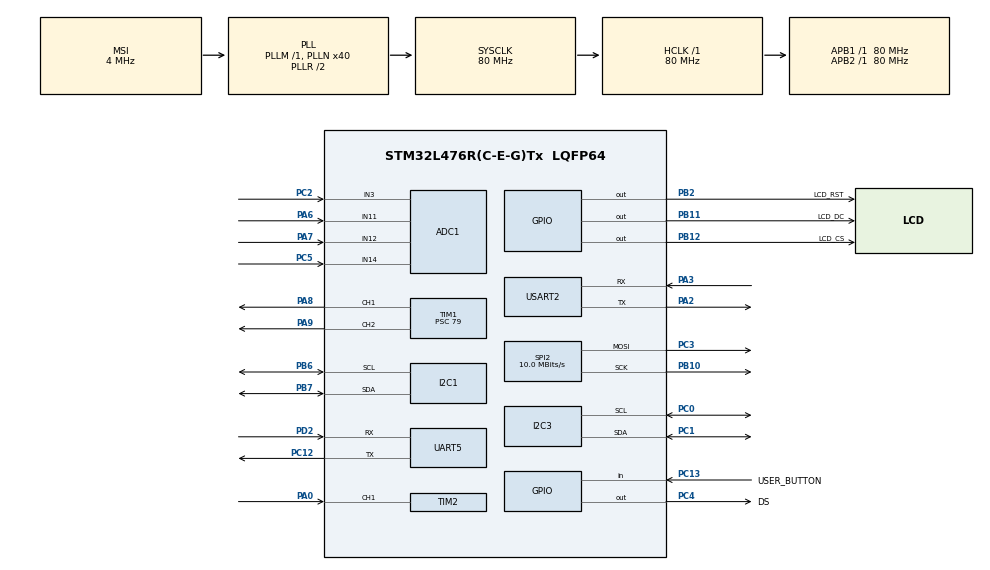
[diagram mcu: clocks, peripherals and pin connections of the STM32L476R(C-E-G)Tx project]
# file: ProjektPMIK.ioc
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ADC1.Channel-0\#ChannelRegularConversion=ADC_CHANNEL_11
ADC1.Channel-1\#ChannelRegularConversion=ADC_CHANNEL_12
ADC1.Channel-2\#ChannelRegularConversion=ADC_CHANNEL_3
ADC1.Channel-3\#ChannelRegularConversion=ADC_CHANNEL_14
ADC1.NbrOfConversion=4
ADC1.NbrOfConversionFlag=1
ADC1.OffsetNumber-0\#ChannelRegularConversion=ADC_OFFSET_NONE
ADC1.OffsetNumber-1\#ChannelRegularConversion=ADC_OFFSET_NONE
ADC1.OffsetNumber-2\#ChannelRegularConversion=ADC_OFFSET_NONE
ADC1.OffsetNumber-3\#ChannelRegularConversion=ADC_OFFSET_NONE
ADC1.Rank-0\#ChannelRegularConversion=1
ADC1.Rank-1\#ChannelRegularConversion=2
ADC1.Rank-2\#ChannelRegularConversion=3
ADC1.Rank-3\#ChannelRegularConversion=4
ADC1.SamplingTime-0\#ChannelRegularConversion=ADC_SAMPLETIME_640CYCLES_5
ADC1.SamplingTime-1\#ChannelRegularConversion=ADC_SAMPLETIME_640CYCLES_5
ADC1.SamplingTime-2\#ChannelRegularConversion=ADC_SAMPLETIME_640CYCLES_5
ADC1.SamplingTime-3\#ChannelRegularConversion=ADC_SAMPLETIME_640CYCLES_5
ADC1.master=1
I2C1.Timing=0x10909CEC
I2C3.Timing=0x10909CEC
Mcu.Family=STM32L4
Mcu.Name=STM32L476R(C-E-G)Tx
Mcu.Package=LQFP64
NVIC.ADC1_2_IRQn=true\:0\:0\:false\:false\:true\:true\:true\:true
NVIC.PriorityGroup=NVIC_PRIORITYGROUP_4
NVIC.TIM2_IRQn=true\:0\:0\:false\:false\:true\:true\:true\:true
NVIC.UART5_IRQn=true\:0\:0\:false\:false\:true\:true\:true\:true
PA0.Signal=S_TIM2_CH1
PA13\ (JTMS-SWDIO).Mode=Serial_Wire
PA13\ (JTMS-SWDIO).Signal=SYS_JTMS-SWDIO
PA14\ (JTCK-SWCLK).Mode=Serial_Wire
PA14\ (JTCK-SWCLK).Signal=SYS_JTCK-SWCLK
PA2.Mode=Asynchronous
PA2.Signal=USART2_TX
PA3.Mode=Asynchronous
PA3.Signal=USART2_RX
PA6.Signal=ADCx_IN11
PA7.Signal=ADCx_IN12
PA8.Signal=S_TIM1_CH1
PA9.Signal=S_TIM1_CH2
PB10.Mode=TX_Only_Simplex_Unidirect_Master
PB10.Signal=SPI2_SCK
PB11.GPIO_Label=LCD_DC
PB11.Signal=GPIO_Output
PB12.GPIO_Label=LCD_CS
PB12.PinState=GPIO_PIN_SET
PB12.Signal=GPIO_Output
PB2.GPIO_Label=LCD_RST
PB2.Signal=GPIO_Output
PB6.Mode=I2C
PB6.Signal=I2C1_SCL
PB7.Mode=I2C
PB7.Signal=I2C1_SDA
PC0.Mode=I2C
PC0.Signal=I2C3_SCL
PC1.Mode=I2C
PC1.Signal=I2C3_SDA
PC12.Mode=Asynchronous
PC12.Signal=UART5_TX
PC13.GPIO_Label=USER_BUTTON
PC13.Signal=GPIO_Input
PC14-OSC32_IN\ (PC14).Mode=LSE-External-Oscillator
PC14-OSC32_IN\ (PC14).Signal=RCC_OSC32_IN
PC15-OSC32_OUT\ (PC15).Mode=LSE-External-Oscillator
PC15-OSC32_OUT\ (PC15).Signal=RCC_OSC32_OUT
PC2.Signal=ADCx_IN3
PC3.Mode=TX_Only_Simplex_Unidirect_Master
PC3.Signal=SPI2_MOSI
PC4.GPIO_Label=DS
PC4.GPIO_ModeDefaultOutputPP=GPIO_MODE_OUTPUT_OD
PC4.GPIO_PuPd=GPIO_NOPULL
PC4.PinState=GPIO_PIN_SET
PC4.Signal=GPIO_Output
PC5.Signal=ADCx_IN14
PD2.Mode=Asynchronous
PD2.Signal=UART5_RX
ProjectManager.HeapSize=0x200
ProjectManager.StackSize=0x400
ProjectManager.TargetToolchain=STM32CubeIDE
RCC.ADCFreq_Value=32000000
RCC.AHBFreq_Value=80000000
RCC.APB1Freq_Value=80000000
RCC.APB1TimFreq_Value=80000000
RCC.APB2Freq_Value=80000000
RCC.APB2TimFreq_Value=80000000
RCC.CortexFreq_Value=80000000
RCC.HCLKFreq_Value=80000000
RCC.HSE_VALUE=8000000
RCC.HSI_VALUE=16000000
RCC.MSI_VALUE=4000000
RCC.PLLN=40
RCC.PLLSAI1N=16
RCC.RTCClockSelection=RCC_RTCCLKSOURCE_LSE
RCC.SYSCLKFreq_VALUE=80000000
RCC.SYSCLKSource=RCC_SYSCLKSOURCE_PLLCLK
RCC.USBFreq_Value=32000000
RCC.VCOOutputFreq_Value=160000000
SH.ADCx_IN11.0=ADC1_IN11,IN11-Single-Ended
SH.ADCx_IN12.0=ADC1_IN12,IN12-Single-Ended
SH.ADCx_IN14.0=ADC1_IN14,IN14-Single-Ended
SH.ADCx_IN3.0=ADC1_IN3,IN3-Single-Ended
SH.S_TIM1_CH1.0=TIM1_CH1,PWM Generation1 CH1
SH.S_TIM1_CH2.0=TIM1_CH2,PWM Generation2 CH2
SH.S_TIM2_CH1.0=TIM2_CH1,Input_Capture1_from_TI1
SH.S_TIM2_CH1.1=TIM2_CH1,TriggerSource_TI1ED
SPI2.BaudRatePrescaler=SPI_BAUDRATEPRESCALER_8
SPI2.CalculateBaudRate=10.0 MBits/s
SPI2.DataSize=SPI_DATASIZE_8BIT
SPI2.Direction=SPI_DIRECTION_2LINES
SPI2.Mode=SPI_MODE_MASTER
SPI2.NSSPMode=SPI_NSS_PULSE_DISABLE
SPI2.VirtualType=VM_MASTER
TIM1.Channel-PWM\ Generation1\ CH1=TIM_CHANNEL_1
TIM1.Channel-PWM\ Generation2\ CH2=TIM_CHANNEL_2
TIM1.Period=20000
TIM1.Prescaler=79
TIM2.Channel-Input_Capture1_from_TI1=TIM_CHANNEL_1
TIM2.ICPolarity_CH1=TIM_INPUTCHANNELPOLARITY_FALLING
TIM2.Prescaler=79
TIM6.Prescaler=79
USART2.OverrunDisableParam=ADVFEATURE_OVERRUN_DISABLE
USART2.VirtualMode-Asynchronous=VM_ASYNC
VP_RTC_VS_RTC_Activate.Mode=RTC_Enabled
VP_TIM1_VS_ClockSourceINT.Mode=Internal
VP_TIM2_VS_ClockSourceINT.Mode=Internal
VP_TIM2_VS_ControllerModeReset.Mode=Reset Mode
VP_TIM6_VS_ClockSourceINT.Mode=Enable_Timer
board=custom

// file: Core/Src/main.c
/* USER CODE BEGIN Header */
/**
  ******************************************************************************
  * @file           : main.c
  * @brief          : Main program body
  ******************************************************************************
  * @attention
  *
  *
  *	PROJEKT:   Stacja pogodowa o funkcjonalności:
  *		Wyświetlająca date i godzine
  *		Wyświetlająca bieżące parametry otoczenia
  *		Wyświetlająca dane pogodowe z internetu
  *		Wyświetlająca historię parametrów otoczenia z kilku ostatnich dni
  *		Ustawiająca panel fotowoltaiczny pod kątem największego natężenia światła
  *		Komunikacja z portem szeregowym komputera
  *		Sterowanie tym co jest wyświetlane za pomocą pilota IR
  *
  *
  * Copyright (c) 2022 STMicroelectronics.
  * All rights reserved.
  *
  * This software is licensed under terms that can be found in the LICENSE file
  * in the root directory of this software component.
  * If no LICENSE file comes with this software, it is provided AS-IS.
  *
  ******************************************************************************
  */
/* USER CODE END Header */
#include "main.h"
#include "adc.h"
#include "i2c.h"
#include "rtc.h"
#include "spi.h"
#include "tim.h"
#include "usart.h"
#include "gpio.h"

/* USER CODE BEGIN Includes */
#include <string.h>
#include <stdio.h>

#include <stdbool.h>
#include "ds18b20.h"
#include "lps25hb.h"
#include "ir.h"
#include "hagl.h"
#include "font6x9.h"
#include "rgb565.h"
#include <hagl_hal.h>
#include <hagl.h>
#include "channels.h"

#include "FUNCTIONS.h"
/* USER CODE END Includes */

/* USER CODE BEGIN PD */
#define NUMBER_OF_MONTHS 12
#define MAX_MONTH_NAME_SIZE 20

// definicja do i2c do czujnika cisnienia
#define LPS25HB_ADDR			0xBA

#define LPS25HB_WHO_AM_I 		0x0F
#define LPS25HB_CTRL_REG1 		0x20
#define LPS25HB_CTRL_REG2 		0x21
#define LPS25HB_CTRL_REG3 		0x22
#define LPS25HB_CTRL_REG4 		0x23
#define LPS25HB_PRESS_OUT_XL 	0x28
#define LPS25HB_PRESS_OUT_L 	0x29
#define LPS25HB_PRESS_OUT_H 	0x2A
#define LPS25HB_TEMP_OUT_L 		0x2B
#define LPS25HB_TEMP_OUT_H 		0x2C

#define LPS25HB_CTRL_REG1_PD 	0x80
#define LPS25HB_CTRL_REG1_ODR2 	0x40
#define LPS25HB_CTRL_REG1_ODR1 	0x20
#define LPS25HB_CTRL_REG1_ODR0 	0x10
//koniec definicja do i2c do czujnika cisnienia
/* USER CODE END PD */

/* USER CODE BEGIN PV */

/**
**Flaga: gdy 1 to pobierane sa dane z internetuprzez ESP   */
int pobierz_dane=0;
/**
** Flaga: gdy 1 to panel fotowoltaiczny jest ustawiany  */
int ustaw_panel=0;
/**
** Numer aktualnie wyświetlanego na ekranie TFT kanału  */
int licznik_kanalu=0;
/**
**  Flaga pozwalająca, aby dane były wyświetlane tylko raz na ekranie jeśli kanał jest nie zmieniany*/
int czy_wyswietlono=0;

int nowy_dzien=0;
int licznik_write_to_memory=1;
/**
**Struktura danych pozwalająca na łatwiejsze określenie czasu trwania sygnału impulsu z odbiornika IR   */
typedef enum {
	PULSE_9MS,
	PULSE_4MS,
	PULSE_2MS,
	PULSE_LONG,
	PULSE_SHORT,
	PULSE_ERROR,
}pulse_t;

uint8_t last_day;

/**
** Wszystkie zmienne RTC są związane z zegarem czasu rzeczywistego  */
RTC_DateTypeDef start_date; //date with which program starts
RTC_TimeTypeDef time;       //changed date
RTC_DateTypeDef date;       //changed time

/**
** Wszystkie zmienne uint są wykorzystywane jako licznik SysTick do różnych funkcji  */
uint time_compare;
uint start_Time;
uint start_Time2;
uint start_Time3;
uint start_Time4;
uint start_Time5;
uint start_Time6;
uint start_Time7;
uint start_Time11;
uint start_Time9;

uint start_Time12;

/**
**  Zmienne do obliczania temperatury  */
uint8_t temperature_calculated=0;
uint16_t temperature=0;
int next_day_flag=0;

int onlywrite=0;
int licznikdnia=0;
int czy_kolejny_dzien=0;
char months_names[NUMBER_OF_MONTHS][MAX_MONTH_NAME_SIZE] = //miesiace kalendarza
{ "styczen",
  "luty",
  "marzec",
  "kwiecien",
  "maj",
  "czerwiec",
  "lipiec",
  "sierpien",
  "wrzesien",
  "pazdziernik",
  "listopad",
  "grudzien",
};

int months_lenghts[NUMBER_OF_MONTHS] =     //dlugosc startowa poszczegolnych miesiecy
{ 31,
  28,
  31,
  30,
  31,
  30,
  31,
  31,
  30,
  31,
  30,
  31,
};

/**
** Zmienne result_memory odpowidają za wpisywanie danych do EEPROM  */
uint8_t result_memory = 0;
uint8_t result_memory2 = 0;
uint8_t result_memory3 = 0;
uint8_t result_memory4 = 0;

/**
** Struktura, która pozwala na tworzenie struktur miast, i przyporządkowywanie miastom danych pogodowych z internetu  */
struct Pogoda_w_miescie_ESP
{char temp[10];
char cisn[10];
char wiatr[10];
	};

/* USER CODE END PV */

void SystemClock_Config(void);
/* USER CODE BEGIN PFP */
/**
** To co robią poszczególne funkcje, opisywane jest przed blokami danych funkcji(np na końcu pliku main.c)  */
void initialize_main_calendar();
void set_new_date_and_time(RTC_DateTypeDef new_date,RTC_TimeTypeDef new_time, uint8_t newYear,uint8_t newMonth,uint8_t newDate,uint8_t newHours,uint8_t newMinutes,uint8_t newSeconds);
void next_day();
void is_pressure_sensor_connected();
void call_calendar();
void call_one_wire_temperature();
void print_lps25hb_sensor();
HAL_StatusTypeDef wire_reset();
uint8_t wire_read();
void write_to_memory();
void wire_write(uint8_t byte);
uint8_t byte_crc(uint8_t crc, uint8_t byte);
uint8_t wire_crc(const uint8_t* data, int len);

uint8_t lps_read_reg(uint8_t reg);
void lps_write_reg(uint8_t reg, uint8_t value);
void read_to_memory();
void line_append(uint8_t value);

void read_time_and_data();
void ESP_loop();

void ds18b20_temperature_sensor();
void print_what_you_write_and_entered();

void serial_port_information();

void start_GetTicks();

void serial_port_data();

void  lcd_put_in_while();

void ADC_measure();
/* USER CODE END PFP */

/* USER CODE BEGIN 0 */
struct Pogoda_w_miescie_ESP Warszawa_pogoda;
struct Pogoda_w_miescie_ESP Gdansk_pogoda;
struct Pogoda_w_miescie_ESP Krakow_pogoda;

/**
  * @brief
  * Callback związany z odczytywaniem naciśniętego przycisku na pilocie IR oraz rozpoznawaniem go
  * @retval None
  */
void HAL_TIM_IC_CaptureCallback(TIM_HandleTypeDef *htim)
{
  if (htim == &htim2)
  {
    switch (HAL_TIM_GetActiveChannel(&htim2))
    {
      case HAL_TIM_ACTIVE_CHANNEL_1:
        ir_tim_interrupt();
        break;
      default:
        break;
    }
  }
}

/**
  * @brief
  * Po naciśnięciu przycisku użytkownika, następuje reset czasu
  * @retval None
  */
bool is_button_pressed(void)
{
  if (HAL_GPIO_ReadPin(USER_BUTTON_GPIO_Port, USER_BUTTON_Pin) == GPIO_PIN_RESET) {
    return true;
  } else {
    return false;
  }
}

/* USER CODE END 0 */

int main(void)
{

  /* MCU Configuration--------------------------------------------------------*/

  /* Reset of all peripherals, Initializes the Flash interface and the Systick. */
  HAL_Init();

  /* Configure the system clock */
  SystemClock_Config();

  /* Initialize all configured peripherals */
  MX_GPIO_Init();
  MX_USART2_UART_Init();
  MX_RTC_Init();
  MX_TIM6_Init();
  MX_I2C1_Init();
  MX_I2C3_Init();
  MX_TIM2_Init();
  MX_SPI2_Init();
  MX_UART5_Init();
  MX_TIM1_Init();
  MX_ADC1_Init();
  /* USER CODE BEGIN 2 */

  	call_one_wire_temperature(); //sprawdzenie czy termometr podpiety

	initialize_main_calendar(start_date);  //data startowa po wlaczeniu programu
	call_calendar(); //wypisywanie miesiecy
	start_GetTicks(); //GetTicks
	  HAL_ADCEx_Calibration_Start(&hadc1, ADC_SINGLE_ENDED); //włączanie PWM do obracania panelem fotowoltaicznym oraz jego kanałów
	  HAL_TIM_PWM_Start(&htim1, TIM_CHANNEL_1);
	  HAL_TIM_PWM_Start(&htim1, TIM_CHANNEL_2);
	  htim1.Instance->CCR1=1300;
	  htim1.Instance->CCR2=1200;

  /* USER CODE END 2 */

  /* Infinite loop */
  /* USER CODE BEGIN WHILE */

	  is_pressure_sensor_connected();// czy czujnik cisnienia jest dolaczony
	  serial_port_information(); //informacja co wpisac do konsoli
	  lcd_init();//inicjalizacja wyświetlacza
	  ir_init(); //wystartowanie Input Capture timera

	  for(int i=0;i<=127;i++)//resetowanie pamięci EEPROM po każdorazowym restarcie
	  {
		  	  HAL_I2C_Mem_Write(&hi2c3, 0xA0, i, 1, 0, sizeof(0), 1000);
	  			    			  HAL_Delay(5);
	  }

	  last_day=date.Date;

  while (1)
  {
	  channel_of_display(); //sprawdzanie ktory kanal wyswietlacza
	  serial_port_data();   //pomiary na porcie szeregowym
	  print_what_you_write_and_entered(); //wypisanie na port szeregowy tego co wpisalismy
	  lcd_put_in_while(); //wyswietlanie poszczegolnych kanalow
	  write_to_memory(); //zapis do pamięci EEPROM danyh pogodowych
	  ESP_loop();  //pobieranie danych z internetu
	  ADC_measure(); //pomiar ADC dla obracania panelem fotowoltaicznym

    /* USER CODE END WHILE */

  }
}

void SystemClock_Config(void)
{
  RCC_OscInitTypeDef RCC_OscInitStruct = {0};
  RCC_ClkInitTypeDef RCC_ClkInitStruct = {0};

  /** Configure the main internal regulator output voltage
  */
  if (HAL_PWREx_ControlVoltageScaling(PWR_REGULATOR_VOLTAGE_SCALE1) != HAL_OK)
  {
    Error_Handler();
  }

  /** Configure LSE Drive Capability
  */
  HAL_PWR_EnableBkUpAccess();
  __HAL_RCC_LSEDRIVE_CONFIG(RCC_LSEDRIVE_LOW);

  /** Initializes the RCC Oscillators according to the specified parameters
  * in the RCC_OscInitTypeDef structure.
  */
  RCC_OscInitStruct.OscillatorType = RCC_OSCILLATORTYPE_LSE|RCC_OSCILLATORTYPE_MSI;
  RCC_OscInitStruct.LSEState = RCC_LSE_ON;
  RCC_OscInitStruct.MSIState = RCC_MSI_ON;
  RCC_OscInitStruct.MSICalibrationValue = 0;
  RCC_OscInitStruct.MSIClockRange = RCC_MSIRANGE_6;
  RCC_OscInitStruct.PLL.PLLState = RCC_PLL_ON;
  RCC_OscInitStruct.PLL.PLLSource = RCC_PLLSOURCE_MSI;
  RCC_OscInitStruct.PLL.PLLM = 1;
  RCC_OscInitStruct.PLL.PLLN = 40;
  RCC_OscInitStruct.PLL.PLLP = RCC_PLLP_DIV7;
  RCC_OscInitStruct.PLL.PLLQ = RCC_PLLQ_DIV2;
  RCC_OscInitStruct.PLL.PLLR = RCC_PLLR_DIV2;
  if (HAL_RCC_OscConfig(&RCC_OscInitStruct) != HAL_OK)
  {
    Error_Handler();
  }

  /** Initializes the CPU, AHB and APB buses clocks
  */
  RCC_ClkInitStruct.ClockType = RCC_CLOCKTYPE_HCLK|RCC_CLOCKTYPE_SYSCLK
                              |RCC_CLOCKTYPE_PCLK1|RCC_CLOCKTYPE_PCLK2;
  RCC_ClkInitStruct.SYSCLKSource = RCC_SYSCLKSOURCE_PLLCLK;
  RCC_ClkInitStruct.AHBCLKDivider = RCC_SYSCLK_DIV1;
  RCC_ClkInitStruct.APB1CLKDivider = RCC_HCLK_DIV1;
  RCC_ClkInitStruct.APB2CLKDivider = RCC_HCLK_DIV1;

  if (HAL_RCC_ClockConfig(&RCC_ClkInitStruct, FLASH_LATENCY_4) != HAL_OK)
  {
    Error_Handler();
  }

  /** Enable MSI Auto calibration
  */
  HAL_RCCEx_EnableMSIPLLMode();
}

/* USER CODE BEGIN 4 */
/**
  * @brief
  * Wyświetlanie parametrów pogodowych na porcie szeregowym
  * @retval None
  */
void print_lps25hb_sensor()
{

	if(HAL_GetTick()-start_Time4>=5000)
			    	{printf("T = %.1f*C\n", lps25hb_read_temp());
	    printf("p = %.1f hPa\n", lps25hb_read_pressure());

			    		start_Time4=HAL_GetTick();
			    	}

}

/**
  * @brief
  * Sprawdzenie czy czujnik ciśnienia jest podłączony
  * @retval None
  */

void is_pressure_sensor_connected()
{
	printf("Searching...\n");
	if (lps25hb_init() == HAL_OK) {
	  printf("OK: LPS25HB\n");
	} else {
	  printf("Error: LPS25HB not found\n");
	  Error_Handler();
	}
	  if(HAL_GetTick()-start_Time3>=100)
		    	{

		    		start_Time3=HAL_GetTick();
		    	}
	}
/**
  * @brief
  * Wypisywanie nazw miesięcy na porcie szeregowym
  * @retval None
  */
void call_calendar()
{
	for(int i=0;i<=12;i++)
	  {printf("%c",months_names[2][i]);}
	printf("\n");

}
/**
  * @brief
  * Sprawdzenie czy czujnik temperatury jest podłączony
  * @retval None
  */
void  call_one_wire_temperature()
{
	 if (ds18b20_init() != HAL_OK) {
	    Error_Handler();
	  }

	  uint8_t ds1[DS18B20_ROM_CODE_SIZE];

	  if (ds18b20_read_address(ds1) != HAL_OK) {
	    Error_Handler();
	  }
}
/**
  * @brief
  * Inicjalizacja zegara RTC jakimiś danymi przy starcie systemu
  * @retval None
  */
void initialize_main_calendar(RTC_DateTypeDef start_date)
{
	start_date.Year = 25;
	start_date.Month = 06;
	start_date.Date = 1;
	start_date.WeekDay = RTC_WEEKDAY_TUESDAY;
	  HAL_RTC_SetDate(&hrtc, &start_date, RTC_FORMAT_BIN);

	}
/**
  * @brief
  * Ustawianie nowego czasu i daty na RTC
  * @retval None
  */
void set_new_date_and_time(RTC_DateTypeDef new_date,RTC_TimeTypeDef new_time, uint8_t newYear,uint8_t newMonth,uint8_t newDate,uint8_t newHours,uint8_t newMinutes,uint8_t newSeconds)
{

  			new_date.Year=newYear;
		  	new_date.Month=newMonth;
		  	new_date.Date=newDate;
		  	new_time.Hours = newHours;
		  	new_time.Minutes = newMinutes;
		  	new_time.Seconds = newSeconds;
		  	HAL_RTC_SetTime(&hrtc, &new_time, RTC_FORMAT_BIN);
		  	HAL_RTC_SetDate(&hrtc, &new_date, RTC_FORMAT_BIN);

}
/**
  * @brief
  * Odczyt daty i czasu z RTC
  * @retval None
  */
void read_time_and_data(uint time_compare)
{

			  // jeśli naciśnięto przycisk
			  if (is_button_pressed()) {
			  	// ważne: nieużywane pola muszą być wyzerowane
			  	RTC_TimeTypeDef new_time = {0};
			  	RTC_DateTypeDef new_date={0};

			  	// czekamy na zwolnienie przycisku
			  	while (is_button_pressed()) {}

			  	 set_new_date_and_time(new_date,new_time,20,4,15,20,30,22);

			  	// ustawiamy godzinę 07:45:00

			  }

			  HAL_RTC_GetTime(&hrtc, &time, RTC_FORMAT_BIN); //pobieramy date i czas
			  HAL_RTC_GetDate(&hrtc, &date, RTC_FORMAT_BIN);

	if(time.Hours==0 && time.Seconds==0 && time.Minutes==0)  //nastepny dzien
			{
		if((HAL_GetTick()-time_compare)>1000)
		{RTC_TimeTypeDef new_time = {0};
	  	RTC_DateTypeDef new_date={0};

			next_day(new_date,new_time);
		time_compare=HAL_GetTick();
		}

			}

	if(HAL_GetTick()-start_Time>=2000)
	{

		printf("RTC: %04d-%02d-%02d, %02d:%02d:%02d\n", 2000 + date.Year, date.Month, date.Date, time.Hours, time.Minutes, time.Seconds);
		start_Time=HAL_GetTick();
	}

}

/**
  * @brief
  * Sprawdzenie czy następny dziń nastał
  * @retval None
  */
void next_day(RTC_DateTypeDef new_date,RTC_TimeTypeDef new_time)
{

	printf("nastepny dzien \n");

	if(months_lenghts[new_date.Month-1]==31)
	{
		if(new_date.Date<31)
		{
			new_date.Date++;
		}
		else
		{
			if(new_date.Month==12)
			{
				new_date.Month=1;
				new_date.Date=1;
				new_date.Year++;

			}
			else
			{
				new_date.Month++;
				new_date.Date=1;
			}
		}

	}
	else
	{
		if(months_lenghts[new_date.Month-1]==30)
		{
			if(new_date.Date<31)
					{
						new_date.Date++;
					}
			else
			{
				new_date.Month++;
			    new_date.Date=1;

			}

		}
		else
		{
			if(new_date.Month==2)
			{
				if(new_date.Date<28)
				{
					new_date.Date++;

				}
				else
				{
					if(new_date.Date==28)
					{

						if((new_date.Year/400)==0)
							{
								months_lenghts[1]=29;

							}
						else
						{

							if((new_date.Year/100)==0)
							{
								months_lenghts[1]=29;

							}
							else
							{
								if((new_date.Year/4)==0)
								{
									months_lenghts[1]=29;
								}

								else
								{
									months_lenghts[1]=28;
								}

							}

						}

					}

					else
					{

						if(new_date.Date==29)
						{
							new_date.Month++;
							new_date.Date=1;
						}
					}

				}
			}
		}

	}

	 HAL_RTC_GetTime(&hrtc, &new_time, RTC_FORMAT_BIN); //pobieramy date i czas
	 HAL_RTC_GetDate(&hrtc, &new_date, RTC_FORMAT_BIN);

	for(int i=0;i<=12;i++)
	  {

		printf("%c",months_names[new_date.Month-1][i]);
	  }
	printf("\n");

	}

/**
  * @brief
  * Odczyt danych z czujnika ciśnienia
  * @retval None
  */
uint8_t lps_read_reg(uint8_t reg)
{
	uint8_t value = 0;
	HAL_I2C_Mem_Read(&hi2c1, LPS25HB_ADDR, reg, 1, &value, sizeof(value), HAL_MAX_DELAY);

	return value;
}

void lps_write_reg(uint8_t reg, uint8_t value)
{
	HAL_I2C_Mem_Write(&hi2c1, LPS25HB_ADDR, reg, 1, &value, sizeof(value), HAL_MAX_DELAY);
}
//koniec kod do czujnika cisnienia

/**
  * @brief
  * Zapis danych z czujnika temperatury
  * @retval None
  */
void ds18b20_temperature_sensor()
{
	  ds18b20_start_measure(NULL);
		    	 if(HAL_GetTick()-start_Time2>=2000)
		    		    	{
		    		 float temp = ds18b20_get_temp(NULL);
		    if (temp >= 80.0f)
		      printf("Sensor error...\n");
		    else
		      printf("temperature of ds18b20: %.1f\n", temp);

		    start_Time2=HAL_GetTick();

		    		    	}

}

/**
  * @brief
  * Wypisanie na porcie szeregowym napisanego na porcie szeregowym tekstu
  * @retval None
  */
void print_what_you_write_and_entered()
{

	 uint8_t value;
		   			  if (HAL_UART_Receive(&huart2, &value, 1, 0) == HAL_OK)
		   				  line_append(value);
}

/**
  * @brief
  * Podstawowe informacie dotyczące pracy na porcie szeregowym
  * @retval None
  */
void serial_port_information()
{
	printf("jesli chcesz odczytywac pomiary na porcie szeregowym, napisz 'also reading' i zaakceptuj enterem \n");
	printf("jesli chcesz tylko pisac na porcie szeregowym, napisz 'just write' i zaakceptuj enterem \n");
}

/**
  * @brief
  * Wystartowanie timerów SYsticks do różnych funkcji
  * @retval None
  */
void start_GetTicks()
{
	time_compare =HAL_GetTick();
	 start_Time=HAL_GetTick();
	 start_Time2=HAL_GetTick();
	 start_Time3=HAL_GetTick();
	 start_Time4=HAL_GetTick();
	 start_Time5=HAL_GetTick();
	 start_Time6=HAL_GetTick();
	 start_Time7=HAL_GetTick();
	  start_Time11=HAL_GetTick();
	  start_Time9=HAL_GetTick();
	  start_Time12=HAL_GetTick();
}

void serial_port_data(){
	  if(onlywrite==0)
	  {
		  print_lps25hb_sensor();
	  // koniec czujnik cisnienia

// poczatek czujnik temperatury 1-wire
	    	ds18b20_temperature_sensor();

	  // koniec czujnik temperatury 1-wire

	    read_time_and_data(time_compare);
	  }
}

/**
  * @brief
  * Wyświetlanie na wyświetlaczu TFT poszczególnego tekstu na poszczególnych kanałach
  * @retval None
  */
void lcd_put_in_while(){

		 //lcd start

	 if(licznik_kanalu==-1)
			 {
				 if(czy_wyswietlono==0)
				 {wchar_t *result [20];
					 	 	 	 	 	 	 	 	 	 	 	 	 	 	  hagl_put_text((L"                        "), 20, 25, YELLOW, font6x9);
					 														  hagl_put_text((L"                        "), 20, 35, YELLOW, font6x9);
					 														  hagl_put_text((L"                        "), 20, 45, YELLOW, font6x9);
					 														  hagl_put_text((L"                        "), 20, 55, YELLOW, font6x9);
					 														  hagl_put_text((L"                        "), 20, 65, YELLOW, font6x9);
					 														  hagl_put_text((L"                        "), 20, 75, YELLOW, font6x9);
					 														  hagl_put_text((L"                        "), 20, 85, YELLOW, font6x9);
									  lcd_copy();

					  swprintf(result, 20,L"Temp Warsz: %s°C", Warszawa_pogoda.temp);
					  hagl_put_text((result), 20, 25, YELLOW, font6x9);
					  swprintf(result, 20,L"Wiatr Warsz:%skm/h", Warszawa_pogoda.wiatr);
					  hagl_put_text((result), 20, 35, YELLOW, font6x9);
					  swprintf(result, 20,L"Cisn Warsz: %s hPa", Warszawa_pogoda.cisn);
					  hagl_put_text((result), 20, 45, YELLOW, font6x9);
					  swprintf(result, 20,L"Temp Gdan: %s°C", Gdansk_pogoda.temp);
										  hagl_put_text((result), 20, 55, YELLOW, font6x9);
										  swprintf(result, 20,L"Wiatr Gdan:%skm/h", Gdansk_pogoda.wiatr);
										  hagl_put_text((result), 20, 65, YELLOW, font6x9);
										  swprintf(result, 20,L"Cisn Gdan: %s hPa", Gdansk_pogoda.cisn);
										  hagl_put_text((result), 20, 75, YELLOW, font6x9);

			  lcd_copy();
			  czy_wyswietlono=1;
				 }

			 }

	 if(licznik_kanalu==-2)
			 {

				 if(czy_wyswietlono==0)
				 {
	 	 	 	 	 	 hagl_put_text((L"                        "), 20, 25, YELLOW, font6x9);
					  hagl_put_text((L"                        "), 20, 35, YELLOW, font6x9);
					  hagl_put_text((L"                        "), 20, 45, YELLOW, font6x9);
					  hagl_put_text((L"                        "), 20, 55, YELLOW, font6x9);
					  hagl_put_text((L"                        "), 20, 65, YELLOW, font6x9);
					  hagl_put_text((L"                        "), 20, 75, YELLOW, font6x9);
					  hagl_put_text((L"                        "), 20, 85, YELLOW, font6x9);
									  lcd_copy();

									  wchar_t *result [20];

									  read_to_memory(0);
									  swprintf(result, 20,L"temp:%d, %04d-%02d-%02d", result_memory,2000+result_memory2,result_memory3,result_memory4);
									  hagl_put_text((result), 20, 25, YELLOW, font6x9);
									  read_to_memory(1);
									  swprintf(result, 20,L"temp:%d, %04d-%02d-%02d", result_memory,2000+result_memory2,result_memory3,result_memory4);
									  hagl_put_text((result), 20, 35, YELLOW, font6x9);
									  read_to_memory(2);
									 swprintf(result, 20,L"temp:%d, %04d-%02d-%02d", result_memory,2000+result_memory2,result_memory3,result_memory4);
									 hagl_put_text((result), 20, 45, YELLOW, font6x9);
									 read_to_memory(3);
									 swprintf(result, 20,L"temp:%d, %04d-%02d-%02d", result_memory,2000+result_memory2,result_memory3,result_memory4);
									 hagl_put_text((result), 20, 55, YELLOW, font6x9);
									 read_to_memory(4);
									swprintf(result, 20,L"temp:%d, %04d-%02d-%02d", result_memory,2000+result_memory2,result_memory3,result_memory4);
									hagl_put_text((result), 20, 65, YELLOW, font6x9);
									 read_to_memory(5);
									swprintf(result, 20,L"temp:%d, %04d-%02d-%02d", result_memory,2000+result_memory2,result_memory3,result_memory4);
									hagl_put_text((result), 20, 75, YELLOW, font6x9);
									 read_to_memory(6);
									swprintf(result, 20,L"temp:%d, %04d-%02d-%02d", result_memory,2000+result_memory2,result_memory3,result_memory4);
								    hagl_put_text((result), 20, 85, YELLOW, font6x9);

			  lcd_copy();
			  czy_wyswietlono=1;
				 }

			 }

		 if(licznik_kanalu==0)
		 {
			 if(czy_wyswietlono==0)
			 {
	 	 	 	 	 	  hagl_put_text((L"                        "), 20, 25, YELLOW, font6x9);
				  hagl_put_text((L"                        "), 20, 35, YELLOW, font6x9);
				  hagl_put_text((L"                        "), 20, 45, YELLOW, font6x9);
				  hagl_put_text((L"                        "), 20, 55, YELLOW, font6x9);
				  hagl_put_text((L"                        "), 20, 65, YELLOW, font6x9);
				  hagl_put_text((L"                        "), 20, 75, YELLOW, font6x9);
				  hagl_put_text((L"                        "), 20, 85, YELLOW, font6x9);
								  lcd_copy();
				  hagl_put_text((L"START"), 40, 55, YELLOW, font6x9);
		  lcd_copy();
		  czy_wyswietlono=1;
			 }

		 }
		 if(licznik_kanalu==1)
			 {

			 if(HAL_GetTick()-start_Time7>=1000)
			 			  					  		{  hagl_put_text((L"                 "), 40, 55, YELLOW, font6x9);
						 hagl_put_text((L"                 "), 40, 45, YELLOW, font6x9);
			  lcd_copy();

			  wchar_t *result [20];
							      swprintf(result, 20, L"%04d-%02d-%02d", 2000 + date.Year, date.Month, date.Date);
			  		   hagl_put_text((result), 40, 55, YELLOW, font6x9);

			  		 swprintf(result, 20, L"%02d:%02d:%02d", time.Hours, time.Minutes, time.Seconds);
			  					  		   hagl_put_text((result), 40, 45, YELLOW, font6x9);

			  		  lcd_copy();
			  		 czy_wyswietlono=1;
			 			  start_Time7=HAL_GetTick();					  		}

			 }
		 if(licznik_kanalu==2)
				 {

			 if(czy_wyswietlono==0 )
						 {
				    hagl_put_text((L"                  "), 40, 55, YELLOW, font6x9);
					 hagl_put_text((L"                 "), 40, 45, YELLOW, font6x9);
				  lcd_copy();

				  float temp = ds18b20_get_temp(NULL);
				  int whole = temp;
				  int remainder = (temp - whole) * 10;
				  wchar_t *result [20];
				      swprintf(result, 20, L"temp : %d.%d °C", whole,remainder);

				  		   hagl_put_text((result), 40, 55, YELLOW, font6x9);

				  		   float cisnienie=lps25hb_read_pressure();
				  		   whole = cisnienie;
				  		 remainder = (cisnienie - whole) * 10;
				  		 swprintf(result, 20, L"cisn : %d.%d °C", whole,remainder);
				  		 hagl_put_text((result), 40, 45, YELLOW, font6x9);

				  		  lcd_copy();

				  		 czy_wyswietlono=1;

						 }

				 }

		  //lcd koniec

}

/**
  * @brief
  * Zapis danych pogodowych do pamięci EEPROM
  * @retval None
  */
void write_to_memory()
{

			   // calculate_average_temperature(temperature);

			    if(HAL_GetTick()-start_Time6>=500000)
			    	{ licznik_write_to_memory++;

			    	float temp = ds18b20_get_temp(NULL);
			    	temperature_calculated=temperature_calculated+temp;
	  int8_t temperature=(temperature_calculated)/licznik_write_to_memory;

			    	//temperature=temp+temperature;
			    	//printf("dziala co 20sek: nowy dzien: %d \n",nowy_dzien);

			    	//uint8_t dzien = 0;

if(last_day==date.Date)
{	  						  HAL_I2C_Mem_Write(&hi2c3, 0xA0, (nowy_dzien*4)+0, 1, &temperature, sizeof(temperature), 1000);
			    			  HAL_Delay(10);
			  		    	  HAL_I2C_Mem_Write(&hi2c3, 0xA0, (nowy_dzien*4)+3, 1, &date.Date, sizeof(date.Date), 1000);
			    			  HAL_Delay(10);
			  		    	  HAL_I2C_Mem_Write(&hi2c3, 0xA0, (nowy_dzien*4)+2, 1, &date.Month, sizeof(date.Month), 1000);
			    			  HAL_Delay(10);
			  		    	  HAL_I2C_Mem_Write(&hi2c3, 0xA0, (nowy_dzien*4)+1, 1,&date.Year, sizeof(date.Year), 1000);

}
else{nowy_dzien++;
last_day=date.Date;
licznik_write_to_memory=0;

if(nowy_dzien>6)
{
	nowy_dzien=0;}
}

//			    	 HAL_I2C_Mem_Read(&hi2c3, 0xA0, 1*czy_kolejny_dzien, 1, &dzien, sizeof(dzien), 1000);

			 	  //HAL_Delay(5);

			  	 // HAL_I2C_Mem_Read(&hi2c3, 0xA0, 0x00, 1, &result, sizeof(result), 1000);

			    		start_Time6=HAL_GetTick();

			    }

}

/**
  * @brief
  * Odczyt danych z pamięci EEPROM
  * @retval None
  */

void read_to_memory(int value)
			    {
			    	 HAL_I2C_Mem_Read(&hi2c3, 0xA0, (value*4)+0, 1, &result_memory, sizeof(result_memory), 1000);
			    	 HAL_I2C_Mem_Read(&hi2c3, 0xA0, (value*4)+1, 1, &result_memory2, sizeof(result_memory2), 1000);
			    	 HAL_I2C_Mem_Read(&hi2c3, 0xA0, (value*4)+2, 1, &result_memory3, sizeof(result_memory3), 1000);
			    	 HAL_I2C_Mem_Read(&hi2c3, 0xA0, (value*4)+3, 1, &result_memory4, sizeof(result_memory4), 1000);
			    }

/**
  * @brief
  * Funkcja odpowiedzialna za odczyt danych pogodowych z internetu, w czym zawiera sie:
  * Sprawdzenie czy flaga została zmieniona, co czyni się poprzez wciśnięcie przycisku na pilocie
  * Podłączenie się do sieci WIFI przy pomocy ESP8266
  * Odczytanie danych z okreslonych w kodzie GET requestów
  * Wyswietlenie na ekranie TFT komunikatu o pobieraniu danych oraz o końcu pobierania
  *
  * @retval None
  */
void ESP_loop()
{

//
		if(pobierz_dane==1)
		{
			hagl_put_text(L"Pobieranie danych int", 40, 45, YELLOW, font6x9);
							  		  lcd_copy();
				  ESP_Init("Desktopx","CpWi6712");
				  ESP_GetData("T6OMO6R5MO94K4DT",Warszawa_pogoda.temp);
				  ESP_GetData("HK4BKPA2DEPEXD4C",Warszawa_pogoda.wiatr);
				  ESP_GetData("R26MG7BIUZLTGPY2",Warszawa_pogoda.cisn);
			//	  		ESP_GetData("7TUK80COZTUK4FVW",Gdansk_pogoda.temp);
			//	  		  ESP_GetData("JT5942AMN2X01J9L",Gdansk_pogoda.wiatr);
			//	  	ESP_GetData("G402BI4JAFWMNBLB",Gdansk_pogoda.cisn);
			//
			//	  	ESP_GetData("RQ61SUIA4I4O4GPQ",Krakow_pogoda.temp);
			//	  	  ESP_GetData("4XJCIGMRQZRS54WP",Krakow_pogoda.wiatr);
			//	  	ESP_GetData("IC5XORHNXMH36JDA",Krakow_pogoda.cisn);
				  hagl_put_text(L"Koniec pobierania danych", 40, 45, YELLOW, font6x9);
				  							  		  lcd_copy();
			pobierz_dane=0;
		}
		if(pobierz_dane==2)
				{
					hagl_put_text(L"Pobieranie danych int", 40, 45, YELLOW, font6x9);
									  		  lcd_copy();

						  		ESP_GetData("7TUK80COZTUK4FVW",Gdansk_pogoda.temp);
						  		  ESP_GetData("JT5942AMN2X01J9L",Gdansk_pogoda.wiatr);
						  	ESP_GetData("G402BI4JAFWMNBLB",Gdansk_pogoda.cisn);
					//
					//	  	ESP_GetData("RQ61SUIA4I4O4GPQ",Krakow_pogoda.temp);
					//	  	  ESP_GetData("4XJCIGMRQZRS54WP",Krakow_pogoda.wiatr);
					//	  	ESP_GetData("IC5XORHNXMH36JDA",Krakow_pogoda.cisn);
						  hagl_put_text(L"Koniec pobierania danych", 40, 45, YELLOW, font6x9);
						  							  		  lcd_copy();
					pobierz_dane=0;
				}

	}

/**
  * @brief
  * Funkcja odpowiedzialna za zmienianie położenia panelu fotowoltaicznego, w co zawiera sie:
  * Pomiar ADC napiecia na dzielnikach napiecia(czterech) skladajacych sie z fotorezystora oraz rezystora 10kOhm
  * Sparwdzenia warunkow, na ktory fotorezystor swiatlo swieci jak mocno
  * Obrot panelu fotowoltaicznego w dwoch osiach zgodnie z wczesniejszymi pomiarami
  * @retval None
  */
void ADC_measure()
{

	    	 	    	   if(HAL_GetTick()-start_Time12>=200)
	    	 	    	   					    	{
	    	 	    		  if(ustaw_panel==1)
	    	 	    		  		  {
	    	 	    		  	  uint32_t value_adc[4];

	    	 	    		  	    HAL_ADC_Start(&hadc1);
	    	 	    		  	    HAL_ADC_PollForConversion(&hadc1, HAL_MAX_DELAY);
	    	 	    		  	    value_adc[0] = HAL_ADC_GetValue(&hadc1);

	    	 	    		  	    HAL_ADC_Start(&hadc1);
	    	 	    		  	    HAL_ADC_PollForConversion(&hadc1, HAL_MAX_DELAY);
	    	 	    		  	    value_adc[1] = HAL_ADC_GetValue(&hadc1);

	    	 	    		  	    HAL_ADC_Start(&hadc1);
	    	 	    		  	    	    HAL_ADC_PollForConversion(&hadc1, HAL_MAX_DELAY);
	    	 	    		  	    	    value_adc[2] = HAL_ADC_GetValue(&hadc1);

	    	 	    		  	    	    HAL_ADC_Start(&hadc1);
	    	 	    		  	    	 	    	    HAL_ADC_PollForConversion(&hadc1, HAL_MAX_DELAY);
	    	 	    		  	    	 	    	   value_adc[3] = HAL_ADC_GetValue(&hadc1);

	    	 	    	   printf("prawo gora=%lu, lewo gora=%lu\n", value_adc[2],value_adc[3]);
	   printf("lewo dol=%lu, prawo dol=%lu", value_adc[1], value_adc[0]);

	    	 	    	  if ( value_adc[3] >  value_adc[2]) {//topleft> topright
	    	 	    	  	    	htim1.Instance->CCR1=htim1.Instance->CCR1-10;//lewo
	    	 	    	  	     // delay(waittime);
	    	 	    	  	    }
	    	 	    	  	    if ( value_adc[1] >  value_adc[0]) {//downleft > downright
	    	 	    	  	    	htim1.Instance->CCR1=htim1.Instance->CCR1-10;
	    	 	    	  	     // delay(waittime);
	    	 	    	  	    }
	    	 	    	  	    if ( value_adc[3] <  value_adc[2]) {//topleft < topright
	    	 	    	  	    	htim1.Instance->CCR1=htim1.Instance->CCR1+10;
	    	 	    	  	    //  delay(waittime);
	    	 	    	  	    }
	    	 	    	  	    if ( value_adc[1] <  value_adc[0]) {//downleft < downright
	    	 	    	  	    	htim1.Instance->CCR1=htim1.Instance->CCR1+10;
	    	 	    	  	    //  delay(waittime);
	    	 	    	  	    }
	    	 	    	  	    if (htim1.Instance->CCR1> 1700) {
	    	 	    	  	    	htim1.Instance->CCR1= 1700;
	    	 	    	  	    }
	    	 	    	  	    if (htim1.Instance->CCR1 < 900) {
	    	 	    	  	    	htim1.Instance->CCR1 = 900;
	    	 	    	  	    }
	    	 	    	  //
	    	 	    	  //
	    	 	    	  	    if ( value_adc[3] >  value_adc[1]) {//topleft > downleft
	    	 	    	  	    	htim1.Instance->CCR2 = htim1.Instance->CCR2 + 10;
	    	 	    	  	       // delay(waittime);
	    	 	    	  	      }
	    	 	    	  	      if ( value_adc[2] >  value_adc[0]) {//topright > downright
	    	 	    	  	    	  htim1.Instance->CCR2 = htim1.Instance->CCR2 + 10;
	    	 	    	  	        //delay(waittime);
	    	 	    	  	      }
	    	 	    	  	      if ( value_adc[3] <  value_adc[1]) {//topleft < downleft
	    	 	    	  	    	  htim1.Instance->CCR2 = htim1.Instance->CCR2 - 10;
	    	 	    	  	       // delay(waittime);
	    	 	    	  	      }
	    	 	    	  	      if ( value_adc[2] <  value_adc[0]) {//topright < downright
	    	 	    	  	    	  htim1.Instance->CCR2 = htim1.Instance->CCR2 - 10;
	    	 	    	  	       // delay(waittime);
	    	 	    	  	      }
	    	 	    	  	      if (htim1.Instance->CCR2 > 1400) {
	    	 	    	  	    	  htim1.Instance->CCR2 = 1400;
	    	 	    	  	      }
	    	 	    	  	      if (htim1.Instance->CCR2 < 1000) {
	    	 	    	  	    	  htim1.Instance->CCR2 = 1000;
	    	 	    	  	      }

	    	 	    	  	   start_Time12=HAL_GetTick();}
}
	    	 	    	  }

/* USER CODE END 4 */

void Error_Handler(void)
{
  __disable_irq();
  while (1)
  {
  }
}
